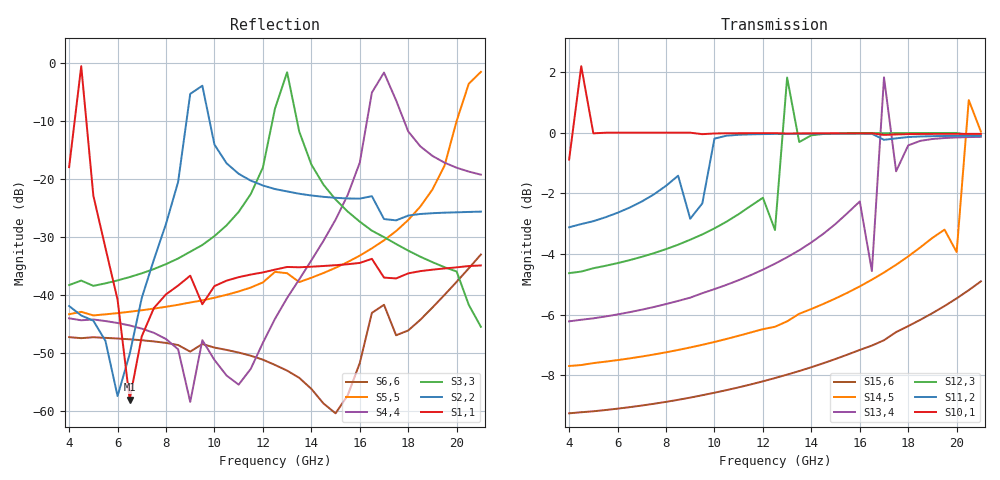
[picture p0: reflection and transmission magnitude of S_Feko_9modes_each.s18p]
! S-parameter export from POSTFEKO
! Filename: circular_2wg_9modes
! Creation date: 2020-01-01 12:29:29
# Hz S MA R  5.0000000E+01
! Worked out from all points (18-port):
!   35 points, 4 GHz to 21 GHz, reference 50 ohm
!   strongest paths, dB at 4 GHz, 8 GHz, 12.5 GHz, 17 GHz, 21 GHz:
!     S10,1: -0.9, 0.0, 0.0, -0.1, 0.0
!     S11,2: -3.1, -1.8, 0.0, -0.2, -0.1
!     S12,3: -4.6, -3.8, -3.2, 0.0, -0.1
!     S13,4: -6.2, -5.7, -4.3, 1.8, -0.1
!     S14,5: -7.7, -7.2, -6.4, -4.6, 0.0
!     S15,6: -9.3, -8.9, -8.1, -6.8, -4.9
!   lowest |S11| = -58.1 dB at 6.5 GHz (marker M1), VSWR 1.00, Z = 50 + j0.12 ohm
!   |S11| at or under -10 dB: start of sweep to 4.227 GHz; 4.713 GHz to end of sweep
